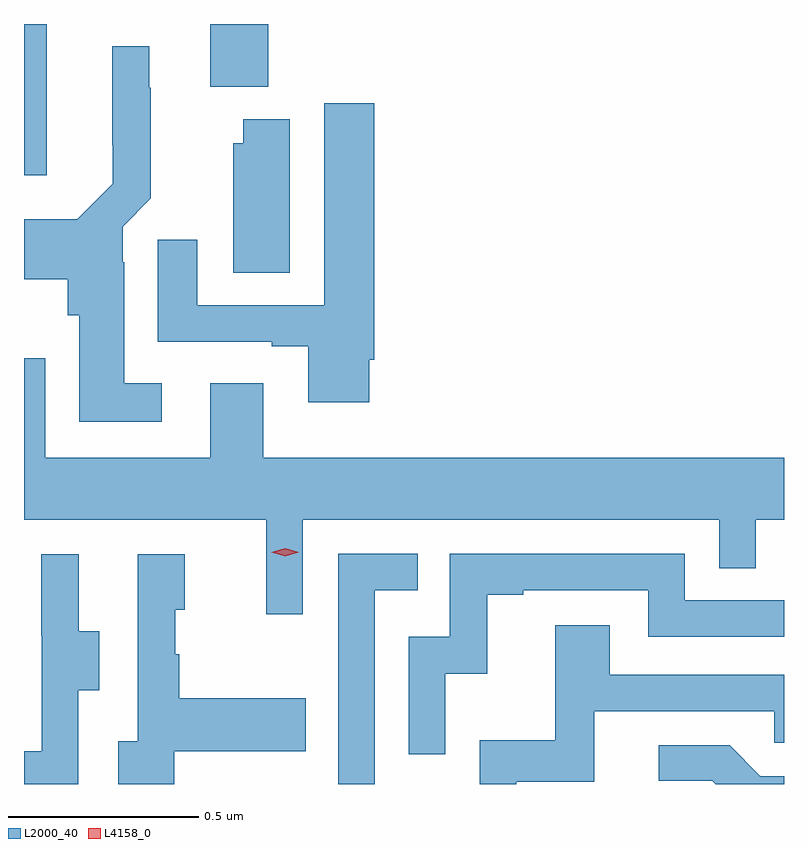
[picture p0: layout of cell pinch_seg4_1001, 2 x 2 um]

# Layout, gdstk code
import gdstk
lib = gdstk.Library(unit=1e-6, precision=1e-09)
def R(c, l, rs):  # rectangles x0, y0, x1, y1
    for r in rs: c.add(gdstk.rectangle(r[:2], r[2:], *l))
def P(c, l, *ps):  # polygons
    for p in ps: c.add(gdstk.Polygon(p, *l))
L2000_40 = (2000, 40)
L4158_0 = (4158, 0)

pinch_seg4_1001 = lib.new_cell('pinch_seg4_1001')
R(pinch_seg4_1001, L2000_40, [(862.531,788.403,862.591,788.801), (863.021,788.636,863.174,788.801)])
P(pinch_seg4_1001, L2000_40, [(862.894,787.855),(862.795,787.855),(862.795,788.174),(862.791,788.174),(862.791,788.268),(862.865,788.342),(862.865,788.633),(862.861,788.633),(862.861,788.743),(862.763,788.743),(862.763,788.482),(862.764,788.482),(862.764,788.38),(862.671,788.287),(862.531,788.287),(862.531,788.129),(862.646,788.129),(862.646,788.034),(862.676,788.034),(862.676,787.754),(862.894,787.754)],
  [(863.44,787.918),(863.453,787.918),(863.453,788.593),(863.321,788.593),(863.321,788.061),(862.987,788.061),(862.987,788.233),(862.883,788.233),(862.883,787.965),(863.183,787.965),(863.183,787.953),(863.279,787.953),(863.279,787.806),(863.44,787.806)],
  [(863.23,788.551),(863.108,788.551),(863.108,788.487),(863.081,788.487),(863.081,788.146),(863.23,788.146)],
  [(863.265,787.496),(864.36,787.496),(864.36,787.369),(864.456,787.369),(864.456,787.496),(864.531,787.496),(864.531,787.66),(863.161,787.66),(863.161,787.855),(863.021,787.855),(863.021,787.66),(862.587,787.66),(862.587,787.921),(862.531,787.921),(862.531,787.496),(863.168,787.496),(863.168,787.248),(863.265,787.248)],
  [(863.64,787.091),(863.75,787.091),(863.75,787.299),(863.845,787.299),(863.845,787.311),(864.174,787.311),(864.174,787.188),(864.531,787.188),(864.531,787.284),(864.27,787.284),(864.27,787.407),(863.652,787.407),(863.652,787.188),(863.544,787.188),(863.544,786.879),(863.64,786.879)],
  [(863.454,787.311),(863.567,787.311),(863.567,787.407),(863.358,787.407),(863.358,786.801),(863.454,786.801)],
  [(862.926,786.887),(863.273,786.887),(863.273,787.027),(862.939,787.027),(862.939,787.142),(862.929,787.142),(862.929,787.26),(862.954,787.26),(862.954,787.405),(862.83,787.405),(862.83,786.914),(862.779,786.914),(862.779,786.801),(862.926,786.801)],
  [(862.674,787.048),(862.729,787.048),(862.729,787.203),(862.675,787.203),(862.675,787.405),(862.577,787.405),(862.577,787.191),(862.578,787.191),(862.578,786.887),(862.531,786.887),(862.531,786.801),(862.674,786.801)],
  [(863.826,786.807),(864.031,786.807),(864.031,786.993),(864.505,786.993),(864.505,786.909),(864.531,786.909),(864.531,787.089),(864.073,787.089),(864.073,787.219),(863.929,787.219),(863.929,786.916),(863.73,786.916),(863.73,786.801),(863.826,786.801)],
  [(864.531,786.822),(864.469,786.822),(864.388,786.903),(864.201,786.903),(864.201,786.81),(864.342,786.81),(864.351,786.801),(864.531,786.801)])
P(pinch_seg4_1001, L4158_0, [(863.218,787.401),(863.182,787.411),(863.182,787.411),(863.182,787.411),(863.218,787.421),(863.254,787.411),(863.254,787.411),(863.254,787.411)])

lib.write_gds('pinch_seg4_1001.gds')
